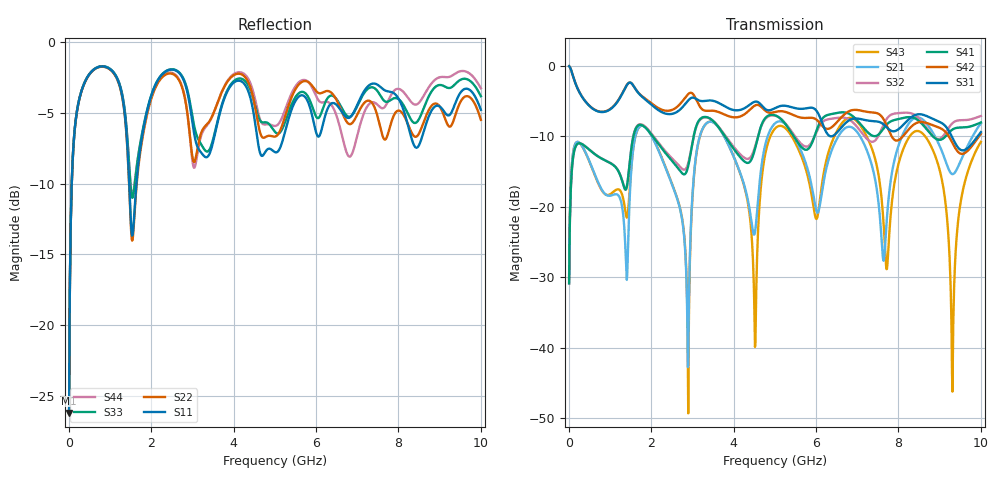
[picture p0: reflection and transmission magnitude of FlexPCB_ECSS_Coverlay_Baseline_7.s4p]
! TOUCHSTONE file generated by CST MICROWAVE STUDIO
! Date and time: Sun Jul  5 19:09:34 2026
! Project name: FlexPCB_ECSS_Coverlay_Baseline.cst
! Parameters = {Gap=0.4; GroundW=5; Hadh=0.025; Hcov=0.025; Hsub=0.1; L=50; Tcu=0.035; W=0.26}
! Header version: 2024
! Port assignment regex: !\s*Touchstone port\s*([0-9]+)\s*=\s*(CST MWS port|CST DES external port|CST DES block port)\s*(.+)\s* \(\"(.*)\"\)(\s*mode\s*([0-9]+))?.*
! Touchstone port assignment:
! Touchstone port 1 = CST MWS port 1 ("")
! Touchstone port 2 = CST MWS port 2 ("")
! Touchstone port 3 = CST MWS port 3 ("")
! Touchstone port 4 = CST MWS port 4 ("")
# GHz S MA R 50
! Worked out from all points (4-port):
!   1002 points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, 10 MHz to 10 GHz, reference 50 ohm
!   strongest paths, dB at 10 MHz, 2.51 GHz, 5.01 GHz, 7.503 GHz, 10 GHz:
!     S31: 0.0, -6.8, -6.0, -7.9, -9.4
!     S42: 0.0, -6.2, -6.5, -6.8, -9.6
!     S41: -30.9, -13.5, -7.0, -9.8, -8.0
!     S32: -30.9, -13.1, -7.1, -10.0, -7.1
!     S21: -30.1, -16.9, -8.1, -18.7, -8.1
!     S43: -30.1, -16.8, -8.9, -15.0, -10.8
!   lowest |S11| = -26.2 dB at 10 MHz (marker M1), VSWR 1.10, Z = 49.5 - j4.86 ohm
!   |S11| at or under -10 dB: start of sweep to 73.5 MHz; 1.468 GHz to 1.643 GHz (175 MHz wide, 11.2 % of centre)
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0.01  0.04905 -93.3  0.03113 84.0  0.997 -3.2  0.02861 83.9
      0.03113 84.0  0.04889 -93.3  0.02861 83.9  0.997 -3.2
      0.997 -3.2  0.02861 83.9  0.04905 -93.3  0.03113 84.0
      0.02861 83.9  0.997 -3.2  0.03113 84.0  0.0489 -93.3
1.52  0.2178 155.5  0.1866 78.4  0.7549 -169.3  0.2597 -104.2
      0.1866 78.4  0.209 154.6  0.2607 -104.2  0.7553 -170.0
      0.7549 -169.3  0.2607 -104.2  0.2904 161.8  0.1937 60.8
      0.2597 -104.2  0.7553 -170.0  0.1937 60.8  0.2936 162.6
3.03  0.4878 152.2  0.1578 92.4  0.5953 32.3  0.3158 96.5
      0.1578 92.4  0.3778 168.4  0.3141 92.0  0.6245 18.4
      0.5953 32.3  0.3141 92.0  0.5178 156.3  0.1532 89.9
      0.3158 96.5  0.6245 18.4  0.1532 89.9  0.3618 168.5
4.52  0.5215 152.1  0.06628 -176.4  0.5578 -133.2  0.2586 -66.9
      0.06628 -176.4  0.5919 154.7  0.2663 -73.0  0.5243 -131.8
      0.5578 -133.2  0.2663 -73.0  0.5998 163.5  0.01011 -146.6
      0.2586 -66.9  0.5243 -131.8  0.01011 -146.6  0.6295 161.5
8.52  0.4393 178.4  0.4285 -28.4  0.4544 150.8  0.4017 179.2
      0.4285 -28.4  0.4824 175.4  0.4183 178.2  0.3998 146.9
      0.4544 150.8  0.4183 178.2  0.5422 -176.1  0.3422 -17.8
      0.4017 179.2  0.3998 146.9  0.3422 -17.8  0.6158 -175.4
9.31  0.5736 179.9  0.1707 155.1  0.3097 48.4  0.3537 110.6
      0.1707 155.1  0.5161 172.6  0.3925 113.7  0.2843 46.6
      0.3097 48.4  0.3925 113.7  0.6958 176.3  0.004874 2.7
      0.3537 110.6  0.2843 46.6  0.004874 2.7  0.7625 176.4
10  0.5763 157.5  0.3913 22.4  0.3391 7.2  0.3971 34.2
    0.3913 22.4  0.5312 150.6  0.4415 32.4  0.33 4.5
    0.3391 7.2  0.4415 32.4  0.6437 160.2  0.289 17.6
    0.3971 34.2  0.33 4.5  0.289 17.6  0.6867 159.6
